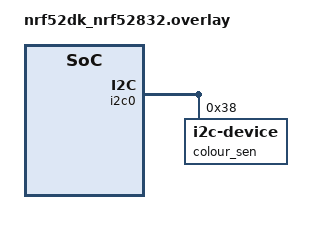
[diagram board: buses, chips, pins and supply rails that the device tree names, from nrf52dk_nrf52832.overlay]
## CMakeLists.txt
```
cmake_minimum_required(VERSION 3.20.0)
find_package(Zephyr REQUIRED HINTS $ENV{ZEPHYR_BASE})

project(MCP4725_driver)

target_sources(app PRIVATE src/main.c)
target_sources(app PRIVATE src/mcp4725.c)
```

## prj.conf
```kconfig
CONFIG_LOG=y
CONFIG_I2C=y
CONFIG_SENSOR=y
```

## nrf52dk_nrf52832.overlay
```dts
// To get started, press Ctrl+Space to bring up the completion menu and view the available nodes.

// You can also use the buttons in the sidebar to perform actions on nodes.
// Actions currently available include:

// * Enabling / disabling the node
// * Adding the bus to a bus
// * Removing the node
// * Connecting ADC channels

// For more help, browse the DeviceTree documentation at https://docs.zephyrproject.org/latest/guides/dts/index.html
// You can also visit the nRF DeviceTree extension documentation at https://nrfconnect.github.io/vscode-nrf-connect/devicetree/nrfdevicetree.html
&i2c0 {
    
    colour_sen: mysensor@38{
        compatible = "i2c-device";
        status = "okay";
        reg = < 0x38>;
    };
};
```

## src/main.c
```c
/*
 * Copyright (c) 2019 Nordic Semiconductor ASA.
 *
 * SPDX-License-Identifier: LicenseRef-Nordic-5-Clause
 */


#include <zephyr/kernel.h>
#include <zephyr/device.h>
#include <zephyr/drivers/sensor.h>
#include <stdio.h>
#include "bh1745.h"



int main()
{

    colour();
    return 0;
}
```

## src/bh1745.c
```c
#include <zephyr/kernel.h>
#include <zephyr/device.h>
#include <zephyr/devicetree.h>
#include <zephyr/drivers/i2c.h>
#include <zephyr/sys/printk.h>
#include "bh1745.h"

uint8_t red;
uint8_t green;
uint8_t blue;
uint8_t cdata;

#define I2C_NODE DT_NODELABEL(colour_sen)
struct i2c_dt_spec dev_i2c = I2C_DT_SPEC_GET(I2C_NODE);

uint8_t cs_i2c_read(uint8_t slaveAddr, uint8_t regAddr)
{
	uint8_t data;
	i2c_write_read_dt(&dev_i2c, &regAddr, sizeof(regAddr), &data, sizeof(data));
	return data;
}

void cs_i2c_write(uint8_t slaveAddr, uint8_t regAddr, uint8_t value1)
{
	uint8_t buf[2];
	buf[0] = regAddr;
	buf[1] = value1;
	i2c_write_dt(&dev_i2c, buf, sizeof(buf));
	return;
}

void intital(void)
{
	cs_i2c_write(BH1745_SA_LOW, 0x41, 0x00); // default time set 160 sec
	cs_i2c_write(BH1745_SA_LOW, MODE_CONTROL2, 0x10); // enable rgbc
	cs_i2c_write(BH1745_SA_LOW, MODE_CONTROL3, 0x02); // default value for mc3
	k_sleep(K_MSEC(500));
}

void RGB_DATA_FOR_READ(void)
{

	int data1 = cs_i2c_read(0x38, 0x50);
	int data2 = cs_i2c_read(0x38, 0x51);
	int data3 = cs_i2c_read(0x38, 0x52);
	int data4 = cs_i2c_read(0x38, 0x53);
	int data5 = cs_i2c_read(0x38, 0x54);
	int data6 = cs_i2c_read(0x38, 0x55);
	int data7 = cs_i2c_read(0x38, 0x56);
	int data8 = cs_i2c_read(0x38, 0x57);

	red = ((data2 * 256) + data1);
	green = ((data4 * 256) + data3);
	blue = ((data6 * 256) + data5);
	cdata = ((data8 * 256) + data7);

	printk("Red color luminance : %d lux \n", red);
	printk("Green color luminance : %d lux \n", green);
	printk("Blue color luminance : %d lux \n", blue);
	printk("Clear Data  Luminance : %d lux \n ", cdata);
}

void colour()
{
	if (!device_is_ready(dev_i2c.bus))
	{
		printk("I2C bus %s is not ready!\n\r", dev_i2c.bus->name);
		return;
	}
	cs_i2c_write(BH1745_SA_LOW, 0x40, 0x4b);
	intital();
	while (1)
	{
		RGB_DATA_FOR_READ();
		printk("\n\nnew data:\n");
		k_msleep(1000);
	}
}
```

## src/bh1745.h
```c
#ifndef _BH1745_H
#define _BH1745_H

#define Slave_Addr 0x38
#define BH1745_SA_LOW 0x38
#define MODE_CONTROL2 0x42
#define MODE_CONTROL3 0x44



#endif
```
